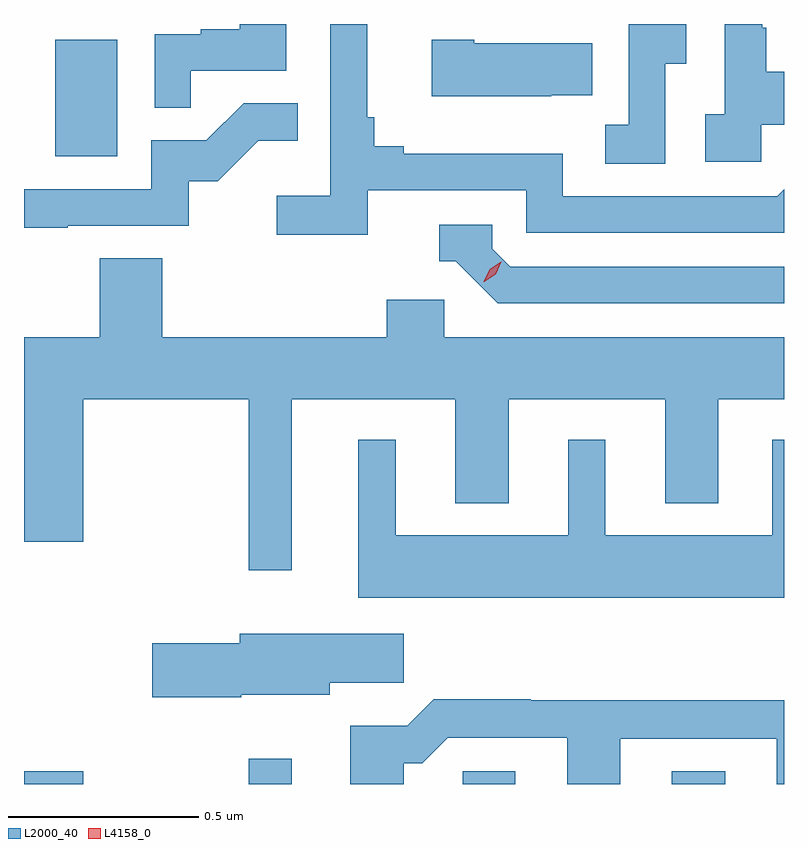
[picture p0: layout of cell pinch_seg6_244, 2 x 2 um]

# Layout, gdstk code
import gdstk
lib = gdstk.Library(unit=1e-6, precision=1e-09)
def R(c, l, rs):  # rectangles x0, y0, x1, y1
    for r in rs: c.add(gdstk.rectangle(r[:2], r[2:], *l))
def P(c, l, *ps):  # polygons
    for p in ps: c.add(gdstk.Polygon(p, *l))
L2000_40 = (2000, 40)
L4158_0 = (4158, 0)

pinch_seg6_244 = lib.new_cell('pinch_seg6_244')
R(pinch_seg6_244, L2000_40, [(1136.044,929.008,1136.2,929.041), (1136.635,929.008,1136.749,929.074), (1137.198,929.008,1137.337,929.042), (1137.749,929.008,1137.889,929.042), (1136.126,930.66,1136.29,930.967)])
P(pinch_seg6_244, L2000_40, [(1136.948,930.57),(1137.366,930.57),(1137.366,930.459),(1138.044,930.459),(1138.044,930.573),(1138.026,930.555),(1137.462,930.555),(1137.462,930.667),(1137.043,930.667),(1137.043,930.686),(1136.966,930.686),(1136.966,930.763),(1136.947,930.763),(1136.947,931.008),(1136.85,931.008),(1136.85,930.556),(1136.709,930.556),(1136.709,930.454),(1136.948,930.454)],
  [(1137.732,930.904),(1137.787,930.904),(1137.787,931.008),(1137.636,931.008),(1137.636,930.743),(1137.573,930.743),(1137.573,930.64),(1137.732,930.64)],
  [(1137.984,930.743),(1138.044,930.743),(1138.044,930.883),(1137.997,930.883),(1137.997,930.998),(1137.987,930.998),(1137.987,931.008),(1137.888,931.008),(1137.888,930.77),(1137.837,930.77),(1137.837,930.645),(1137.984,930.645)],
  [(1136.483,930.885),(1136.734,930.885),(1136.734,931.008),(1136.612,931.008),(1136.612,930.994),(1136.509,930.994),(1136.509,930.981),(1136.388,930.981),(1136.388,930.787),(1136.483,930.787)],
  [(1137.431,930.821),(1137.539,930.821),(1137.539,930.958),(1137.229,930.958),(1137.229,930.966),(1137.117,930.966),(1137.117,930.818),(1137.431,930.818)],
  [(1136.159,930.477),(1136.478,930.477),(1136.478,930.594),(1136.554,930.594),(1136.661,930.701),(1136.765,930.701),(1136.765,930.8),(1136.622,930.8),(1136.524,930.702),(1136.379,930.702),(1136.379,930.573),(1136.044,930.573),(1136.044,930.472),(1136.159,930.472)],
  [(1138.044,930.369),(1137.324,930.369),(1137.276,930.417),(1137.276,930.48),(1137.137,930.48),(1137.137,930.384),(1137.18,930.384),(1137.291,930.273),(1138.044,930.273)],
  [(1136.749,930.02),(1137.179,930.02),(1137.179,929.747),(1137.319,929.747),(1137.319,930.02),(1137.731,930.02),(1137.731,929.747),(1137.871,929.747),(1137.871,930.02),(1138.044,930.02),(1138.044,930.184),(1137.15,930.184),(1137.15,930.282),(1136.999,930.282),(1136.999,930.184),(1136.408,930.184),(1136.408,930.392),(1136.243,930.392),(1136.243,930.184),(1136.044,930.184),(1136.044,929.646),(1136.2,929.646),(1136.2,930.02),(1136.635,930.02),(1136.635,929.571),(1136.749,929.571)],
  [(1138.044,929.914),(1138.013,929.914),(1138.013,929.662),(1137.574,929.662),(1137.574,929.914),(1137.476,929.914),(1137.476,929.662),(1137.022,929.662),(1137.022,929.914),(1136.924,929.914),(1136.924,929.498),(1138.044,929.498)],
  [(1136.616,929.243),(1136.848,929.243),(1136.848,929.275),(1137.043,929.275),(1137.043,929.404),(1136.612,929.404),(1136.612,929.378),(1136.382,929.378),(1136.382,929.236),(1136.616,929.236)],
  [(1137.043,929.063),(1137.092,929.063),(1137.159,929.13),(1137.473,929.13),(1137.473,929.008),(1137.613,929.008),(1137.613,929.127),(1138.025,929.127),(1138.025,929.008),(1138.044,929.008),(1138.044,929.228),(1137.377,929.228),(1137.377,929.231),(1137.122,929.231),(1137.052,929.161),(1136.903,929.161),(1136.903,929.008),(1137.043,929.008)])
P(pinch_seg6_244, L4158_0, [(1137.254,930.33),(1137.254,930.33),(1137.27,930.363),(1137.3,930.383),(1137.3,930.383),(1137.3,930.382),(1137.285,930.35),(1137.255,930.33)])

lib.write_gds('pinch_seg6_244.gds')
